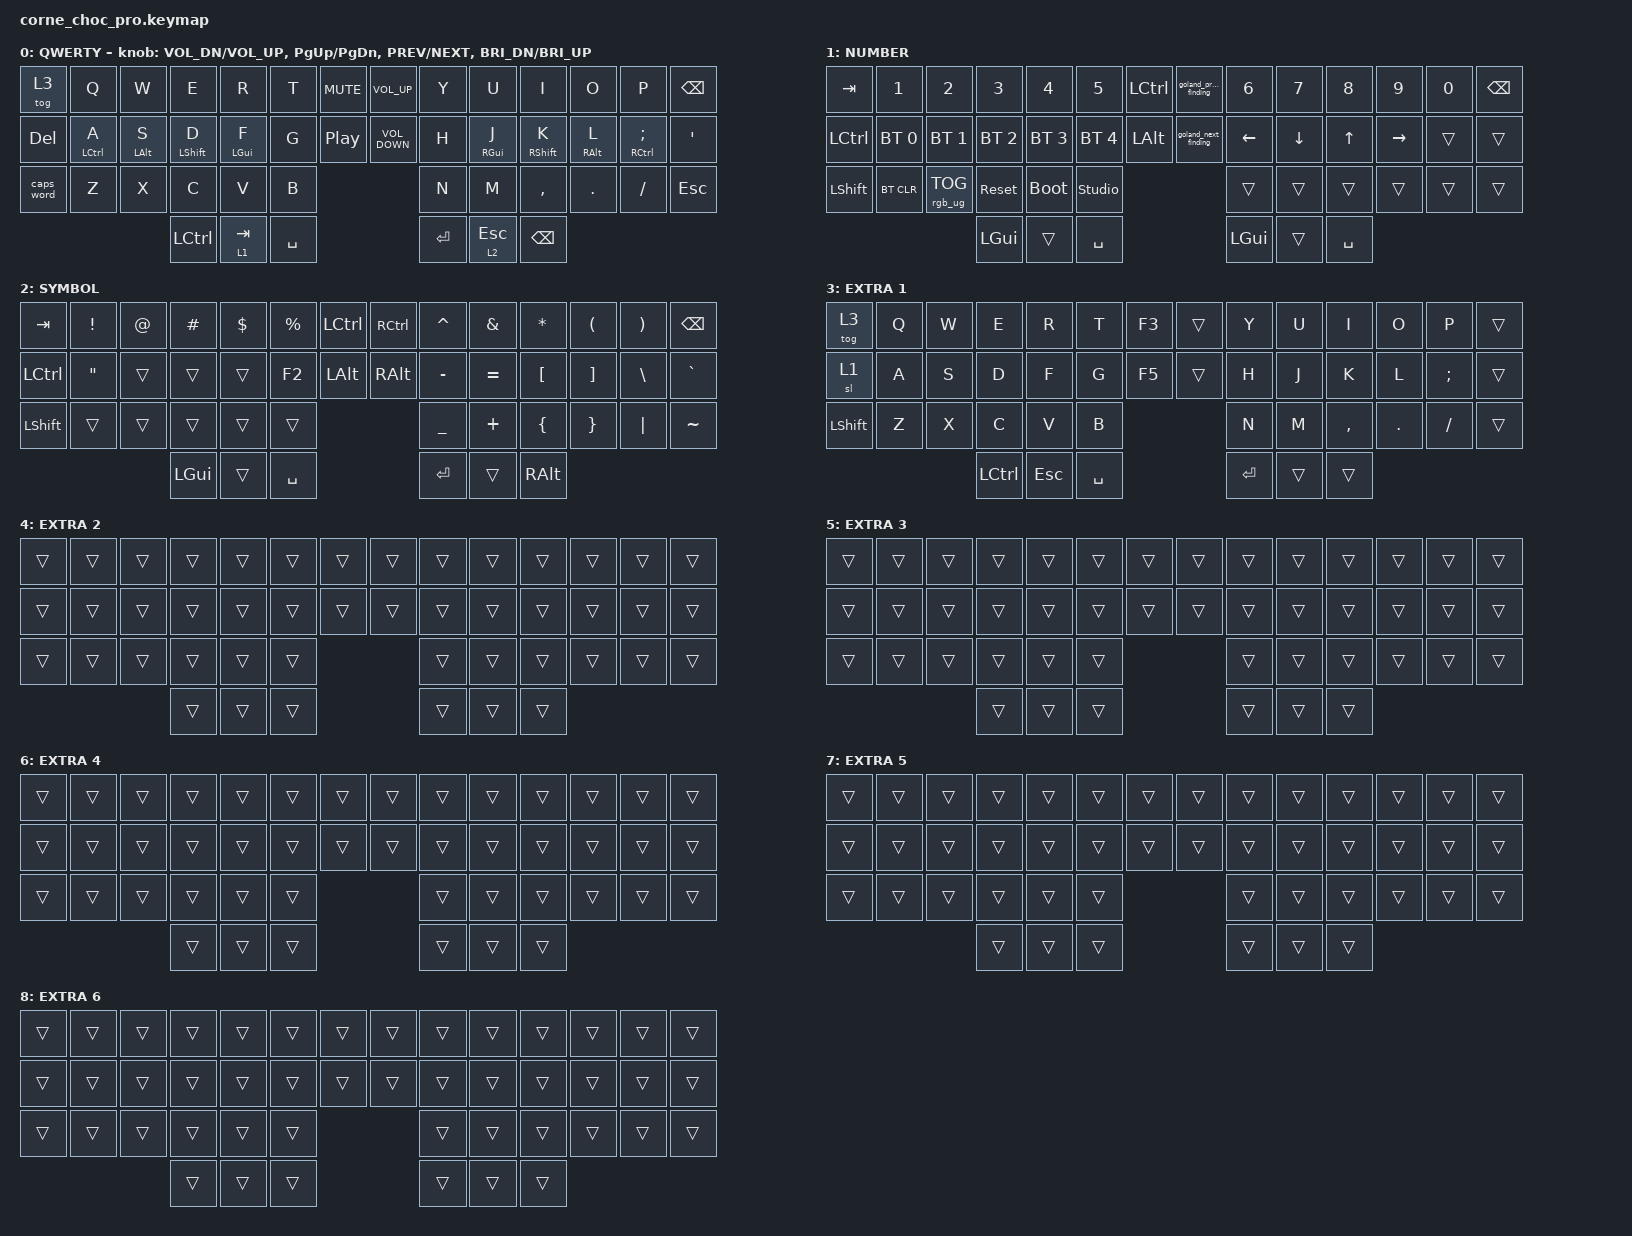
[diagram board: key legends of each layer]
/*
 * Copyright (c) 2020 The ZMK Contributors
 *
 * SPDX-License-Identifier: MIT
 */

#include <behaviors.dtsi>
#include <dt-bindings/zmk/bt.h>
#include <dt-bindings/zmk/keys.h>
#include <dt-bindings/zmk/rgb.h>

/ {
    chosen { zmk,physical-layout = &default_layout; };
};

/ {
    behaviors {
        HRShiftR: HRShiftR {
            compatible = "zmk,behavior-hold-tap";
            label = "HRSHIFTR";
            bindings = <&kp>, <&kp>;

            #binding-cells = <2>;
            tapping-term-ms = <250>;
            hold-trigger-key-positions = <0 1 2 3 4 5 6 18 19 20 32 33 42 6 14 15 16 17 18 19 20 28 29 30 31 32 33 40 41 42>;
            hold-trigger-on-release;
            quick-tap-ms = <50>;
            flavor = "balanced";
        };

        HRShiftL: HRShiftL {
            compatible = "zmk,behavior-hold-tap";
            label = "HRSHIFTL";
            bindings = <&kp>, <&kp>;

            #binding-cells = <2>;
            tapping-term-ms = <200>;
            hold-trigger-key-positions = <7 8 9 10 11 12 13 21 22 23 24 25 26 27 34 35 36 37 38 39 43 44 45>;
            hold-while-undecided;
            quick-tap-ms = <50>;
            flavor = "balanced";
        };

        HRR: HRR {
            compatible = "zmk,behavior-hold-tap";
            label = "HRR";
            bindings = <&kp>, <&kp>;

            #binding-cells = <2>;
            tapping-term-ms = <200>;
            hold-while-undecided;
            hold-trigger-key-positions = <0 1 2 3 4 5 6 18 19 20 32 33 42 6 14 15 16 17 18 19 20 28 29 30 31 32 33 40 41 42>;
            hold-trigger-on-release;
            flavor = "tap-preferred";
        };

        HRL: HRL {
            compatible = "zmk,behavior-hold-tap";
            label = "HRL";
            bindings = <&kp>, <&kp>;

            #binding-cells = <2>;
            tapping-term-ms = <200>;
            hold-while-undecided;
            hold-trigger-on-release;
            hold-trigger-key-positions = <7 8 9 10 11 12 13 21 22 23 24 25 26 27 34 35 36 37 38 39 43 44 45>;
            flavor = "tap-preferred";
        };

        new_behavior: new_behavior {
            compatible = "zmk,behavior-hold-tap";
            label = "NEW_BEHAVIOR";
            bindings = <&kp>, <&kp>;

            #binding-cells = <2>;
            tapping-term-ms = <250>;
            hold-trigger-key-positions = <7 8 9 10 11 12 13 21 22 23 24 25 26 27 34 35 36 37 38 39 43 44 45>;
            hold-while-undecided;
            quick-tap-ms = <50>;
        };
    };

    macros {
        goland_next_finding: goland_next_finding {
            compatible = "zmk,behavior-macro";
            #binding-cells = <0>;
            bindings = <&kp LA(F8)>;
            label = "GOLAND_NEXT_FINDING";
        };

        goland_previous_finding: goland_previous_finding {
            compatible = "zmk,behavior-macro";
            #binding-cells = <0>;
            bindings = <&kp LS(LA(F8))>;
            label = "GOLAND_PREVIOUS_FINDING";
        };
    };

    keymap {
        compatible = "zmk,keymap";

        default_layer {
            display-name = "QWERTY";

            // --------------------------------------------------------------------------------
            // |  TAB |  Q  |  W  |  E  |  R  |  T  |  MUTE |  PP   |  Y  |  U   |  I  |  O  |  P  | BSPC |
            // | CTRL |  A  |  S  |  D  |  F  |  G  |  LALT |  RALT |  H  |  J   |  K  |  L  |  ;  |  '   |
            // | SHFT |  Z  |  X  |  C  |  V  |  B  |               |  N  |  M   |  ,  |  .  |  /  | ESC  |
            //                    | GUI | LWR | SPC |               | ENT | RSE  | ALT |

            bindings = <
&tog 3      &kp Q                &kp W            &kp E                   &kp R        &kp T      &kp C_MUTE        &kp C_VOLUME_UP    &kp Y    &kp U             &kp I                    &kp O             &kp P                    &kp BSPC
&kp DELETE  &HRL LEFT_CONTROL A  &HRL LEFT_ALT S  &HRShiftL LEFT_SHIFT D  &HRL LGUI F  &kp G      &kp C_PLAY_PAUSE  &kp C_VOLUME_DOWN  &kp H    &HRR RIGHT_GUI J  &HRShiftR RIGHT_SHIFT K  &HRR RIGHT_ALT L  &HRR RIGHT_CONTROL SEMI  &kp SQT
&caps_word  &kp Z                &kp X            &kp C                   &kp V        &kp B                                           &kp N    &kp M             &kp COMMA                &kp DOT           &kp FSLH                 &kp ESC
                                                  &kp LEFT_CONTROL        &lt 1 TAB    &kp SPACE                                       &kp RET  &lt 2 ESC         &kp BACKSPACE
            >;

            sensor-bindings = <&inc_dec_kp C_VOL_DN C_VOL_UP &inc_dec_kp PG_UP PG_DN &inc_dec_kp C_PREV C_NEXT &inc_dec_kp C_BRI_DN C_BRI_UP>;
        };

        lower_layer {
            display-name = "NUMBER";

            // -----------------------------------------------------------------------------------------
            // |  TAB |  1  |  2  |  3  |  4  |  5    |  LCTRL | RCTRL |  6  |  7  |  8  |  9  |  0  | BSPC |
            // | CTRL | BT1 | BT2 | BT3 | BT4 | BT5   |  LALT  | RALT  | LFT | DWN |  UP | RGT |     |      |
            // | SHFT | BTCR| RGB | RST | BOOT| Unlock|        |       |     |     |     |     |     |      |
            //                    | GUI |     | SPC   |        | ENT   |     | ALT |

            bindings = <
&kp TAB    &kp N1        &kp N2           &kp N3        &kp N4        &kp N5          &kp LCTRL  &goland_previous_finding  &kp N6    &kp N7    &kp N8     &kp N9     &kp N0  &kp BSPC
&kp LCTRL  &bt BT_SEL 0  &bt BT_SEL 1     &bt BT_SEL 2  &bt BT_SEL 3  &bt BT_SEL 4    &kp LALT   &goland_next_finding      &kp LEFT  &kp DOWN  &kp UP     &kp RIGHT  &trans  &trans
&kp LSHFT  &bt BT_CLR    &rgb_ug RGB_TOG  &sys_reset    &bootloader   &studio_unlock                                       &trans    &trans    &trans     &trans     &trans  &trans
                                          &kp LGUI      &trans        &kp SPACE                                            &kp LGUI  &trans    &kp SPACE
            >;
        };

        raise_layer {
            display-name = "SYMBOL";

            // -----------------------------------------------------------------------------------------
            // |  TAB |  !  |  @  |  #  |  $  |  %  | LCTRL | RCTRL |  ^  |  &  |  *  |  (  |  )  | BSPC |
            // | CTRL |     |     |     |     |     |  LALT | RALT  |  -  |  =  |  [  |  ]  |  \  |  `   |
            // | SHFT |     |     |     |     |     |               |  _  |  +  |  {  |  }  | "|" |  ~   |
            //                    | GUI |     | SPC |               | ENT |     | ALT |

            bindings = <
&kp TAB    &kp EXCL           &kp AT  &kp HASH  &kp DLLR  &kp PRCNT  &kp LCTRL  &kp RCTRL  &kp CARET  &kp AMPS   &kp ASTRK  &kp LPAR  &kp RPAR  &kp BSPC
&kp LCTRL  &kp DOUBLE_QUOTES  &trans  &trans    &trans    &kp F2     &kp LALT   &kp RALT   &kp MINUS  &kp EQUAL  &kp LBKT   &kp RBKT  &kp BSLH  &kp GRAVE
&kp LSHFT  &trans             &trans  &trans    &trans    &trans                           &kp UNDER  &kp PLUS   &kp LBRC   &kp RBRC  &kp PIPE  &kp TILDE
                                      &kp LGUI  &trans    &kp SPACE                        &kp RET    &trans     &kp RALT
            >;
        };

        extra_layer_1 {
            display-name = "EXTRA 1";
            bindings = <
&tog 3          &kp Q  &kp W  &kp E      &kp R    &kp T      &kp F3  &trans  &kp Y      &kp U   &kp I      &kp O    &kp P     &trans
&sl 1           &kp A  &kp S  &kp D      &kp F    &kp G      &kp F5  &trans  &kp H      &kp J   &kp K      &kp L    &kp SEMI  &trans
&kp LEFT_SHIFT  &kp Z  &kp X  &kp C      &kp V    &kp B                      &kp N      &kp M   &kp COMMA  &kp DOT  &kp FSLH  &trans
                              &kp LCTRL  &kp ESC  &kp SPACE                  &kp ENTER  &trans  &trans
            >;
        };

        extra_layer_2 {
            display-name = "EXTRA 2";
            bindings = <
&trans  &trans  &trans  &trans  &trans  &trans  &trans  &trans  &trans  &trans  &trans  &trans  &trans  &trans
&trans  &trans  &trans  &trans  &trans  &trans  &trans  &trans  &trans  &trans  &trans  &trans  &trans  &trans
&trans  &trans  &trans  &trans  &trans  &trans                  &trans  &trans  &trans  &trans  &trans  &trans
                        &trans  &trans  &trans                  &trans  &trans  &trans
            >;
        };

        extra_layer_3 {
            display-name = "EXTRA 3";
            bindings = <
&trans  &trans  &trans  &trans  &trans  &trans  &trans  &trans  &trans  &trans  &trans  &trans  &trans  &trans
&trans  &trans  &trans  &trans  &trans  &trans  &trans  &trans  &trans  &trans  &trans  &trans  &trans  &trans
&trans  &trans  &trans  &trans  &trans  &trans                  &trans  &trans  &trans  &trans  &trans  &trans
                        &trans  &trans  &trans                  &trans  &trans  &trans
            >;
        };

        extra_layer_4 {
            display-name = "EXTRA 4";
            bindings = <
&trans  &trans  &trans  &trans  &trans  &trans  &trans  &trans  &trans  &trans  &trans  &trans  &trans  &trans
&trans  &trans  &trans  &trans  &trans  &trans  &trans  &trans  &trans  &trans  &trans  &trans  &trans  &trans
&trans  &trans  &trans  &trans  &trans  &trans                  &trans  &trans  &trans  &trans  &trans  &trans
                        &trans  &trans  &trans                  &trans  &trans  &trans
            >;
        };

        extra_layer_5 {
            display-name = "EXTRA 5";
            bindings = <
&trans  &trans  &trans  &trans  &trans  &trans  &trans  &trans  &trans  &trans  &trans  &trans  &trans  &trans
&trans  &trans  &trans  &trans  &trans  &trans  &trans  &trans  &trans  &trans  &trans  &trans  &trans  &trans
&trans  &trans  &trans  &trans  &trans  &trans                  &trans  &trans  &trans  &trans  &trans  &trans
                        &trans  &trans  &trans                  &trans  &trans  &trans
            >;
        };

        extra_layer_6 {
            display-name = "EXTRA 6";
            bindings = <
&trans  &trans  &trans  &trans  &trans  &trans  &trans  &trans  &trans  &trans  &trans  &trans  &trans  &trans
&trans  &trans  &trans  &trans  &trans  &trans  &trans  &trans  &trans  &trans  &trans  &trans  &trans  &trans
&trans  &trans  &trans  &trans  &trans  &trans                  &trans  &trans  &trans  &trans  &trans  &trans
                        &trans  &trans  &trans                  &trans  &trans  &trans
            >;
        };
    };
};
